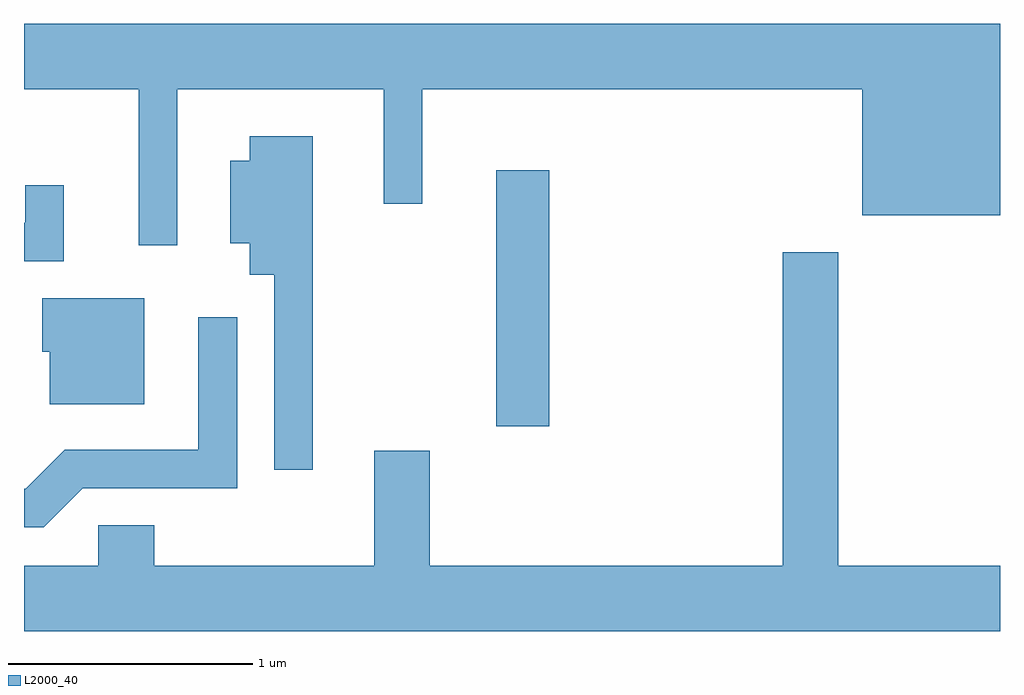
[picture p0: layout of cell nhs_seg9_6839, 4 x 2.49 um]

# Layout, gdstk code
import gdstk
lib = gdstk.Library(unit=1e-6, precision=1e-09)
def R(c, l, rs):  # rectangles x0, y0, x1, y1
    for r in rs: c.add(gdstk.rectangle(r[:2], r[2:], *l))
def P(c, l, *ps):  # polygons
    for p in ps: c.add(gdstk.Polygon(p, *l))
L2000_40 = (2000, 40)

nhs_seg9_6839 = lib.new_cell('nhs_seg9_6839')
R(nhs_seg9_6839, L2000_40, [(389.546,1981.556,389.764,1982.604)])
P(nhs_seg9_6839, L2000_40, [(388.239,1982.936),(389.086,1982.936),(389.086,1982.468),(389.244,1982.468),(389.244,1982.936),(391.046,1982.936),(391.046,1982.421),(391.611,1982.421),(391.611,1983.204),(387.611,1983.204),(387.611,1982.936),(388.081,1982.936),(388.081,1982.298),(388.239,1982.298)],
  [(388.794,1982.744),(388.536,1982.744),(388.536,1982.644),(388.456,1982.644),(388.456,1982.306),(388.536,1982.306),(388.536,1982.176),(388.636,1982.176),(388.636,1981.378),(388.794,1981.378)],
  [(387.774,1982.543),(387.616,1982.543),(387.616,1982.389),(387.611,1982.389),(387.611,1982.231),(387.774,1982.231)],
  [(391.611,1980.984),(390.949,1980.984),(390.949,1982.269),(390.721,1982.269),(390.721,1980.984),(389.274,1980.984),(389.274,1981.454),(389.046,1981.454),(389.046,1980.984),(388.144,1980.984),(388.144,1981.149),(387.916,1981.149),(387.916,1980.984),(387.611,1980.984),(387.611,1980.716),(391.611,1980.716)],
  [(388.104,1982.079),(387.686,1982.079),(387.686,1981.861),(387.716,1981.861),(387.716,1981.646),(388.104,1981.646)],
  [(387.852,1981.301),(388.484,1981.301),(388.484,1982.003),(388.326,1982.003),(388.326,1981.459),(387.779,1981.459),(387.619,1981.299),(387.611,1981.299),(387.611,1981.141),(387.692,1981.141)])

lib.write_gds('nhs_seg9_6839.gds')
